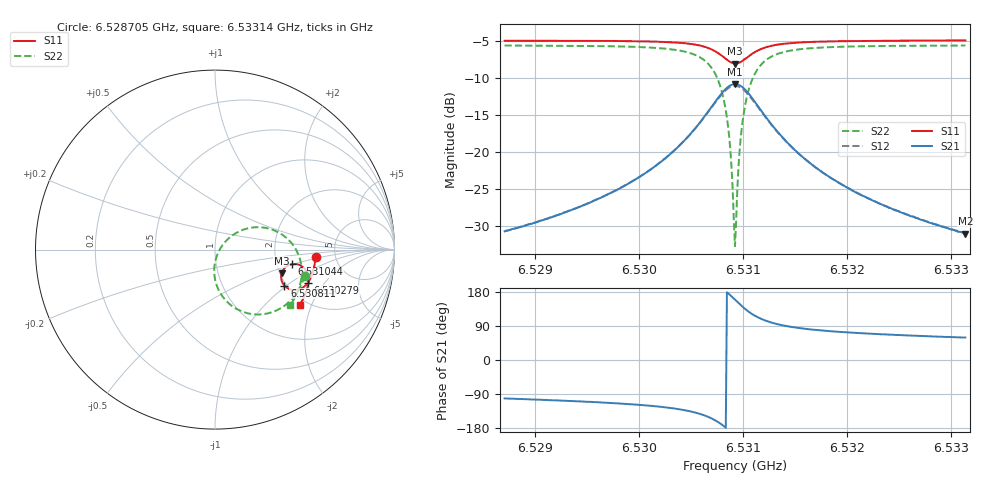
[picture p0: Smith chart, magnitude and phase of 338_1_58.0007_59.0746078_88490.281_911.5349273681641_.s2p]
#  HZ  S  RI  R  50.00
! Rohde & Schwarz Vector Network Analyzer
! Rohde-Schwarz,ZNB20-2Port,1311601062101988,3.16
! Created: UTC 3/21/2024, 1:05:23 AM
! freq[Hz]  re:S11  im:S11  re:S21  im:S21  re:S12  im:S12  re:S22  im:S22
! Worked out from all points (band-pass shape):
!   401 points, 6.528705 GHz to 6.53314 GHz, reference 50 ohm
!   highest |S21| = -10.85 dB at 6.530922 GHz (marker M1); lowest = -31.0 dB at 6.53314 GHz (marker M2)
!   |S21| within 3 dB of the highest: 6.530701 GHz to 6.531145 GHz (444.1 kHz wide, 0.0068 % of centre)
!   lowest |S11| = -8.1 dB at 6.530922 GHz (marker M3), VSWR 2.30, Z = 102 - j31.9 ohm
!   |S11| at or under -10 dB: nowhere
!   |S22| runs from -32.7 to -5.7 dB; largest |S21 - S12| = 0.011
!   S11 on the Smith chart (normalised r, x): 6.528705 GHz: 3.51, -0.42; 6.530279 GHz: 2.62, -1.38; 6.530811 GHz: 1.95, -0.97; 6.531044 GHz: 2.43, -0.48; 6.53314 GHz: 1.82, -1.65
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6.5287048e9  0.56 -0.0414  -0.00575 -0.0286  -0.00625 -0.0285  0.5006 -0.1456
6.5294477e9  0.5511 -0.1023  -0.0144 -0.0408  -0.0153 -0.0405  0.4721 -0.2129
6.5301906e9  0.5247 -0.1738  -0.0456 -0.0702  -0.0476 -0.0691  0.3959 -0.3062
6.5302793e9  0.5177 -0.184  -0.0552 -0.0762  -0.0572 -0.0748  0.376 -0.3205
6.5304899e9  0.4921 -0.2099  -0.0935 -0.0922  -0.0961 -0.089  0.2994 -0.3542
6.5306452e9  0.4544 -0.2249  -0.152 -0.0952  -0.1543 -0.0892  0.191 -0.3567
6.5307449e9  0.4157 -0.2206  -0.2121 -0.0718  -0.2118 -0.0633  0.0884 -0.3093
6.5308115e9  0.3871 -0.2009  -0.2547 -0.0278  -0.2508 -0.0186  0.022 -0.2283
6.5308669e9  0.3705 -0.1702  -0.276 0.0321  -0.2685 0.0397  -0.00432 -0.1253
6.5309002e9  0.3685 -0.1472  -0.2753 0.0744  -0.2661 0.0798  0.00381 -0.0553
6.5309113e9  0.3695 -0.1394  -0.2721 0.0886  -0.2625 0.0931  0.0112 -0.0324
6.5309223e9  0.3713 -0.1317  -0.2676 0.1026  -0.2579 0.1063  0.0208 -0.0102
6.5309334e9  0.374 -0.1242  -0.2617 0.1159  -0.252 0.1188  0.0326 0.0109
6.5309445e9  0.3774 -0.1171  -0.2546 0.1286  -0.2448 0.1306  0.0463 0.0306
6.5309667e9  0.3863 -0.1044  -0.237 0.1513  -0.2279 0.1517  0.0789 0.065
6.5309889e9  0.3973 -0.0942  -0.2163 0.1696  -0.2079 0.1686  0.1161 0.0916
6.5310443e9  0.4286 -0.0808  -0.1596 0.1945  -0.1539 0.1918  0.2138 0.1236
6.5311219e9  0.4668 -0.0841  -0.0923 0.1926  -0.0894 0.19  0.327 0.1083
6.5312328e9  0.4989 -0.1067  -0.0355 0.1631  -0.0341 0.1617  0.4193 0.0445
6.5316652e9  0.5203 -0.1821  0.0138 0.0806  0.0148 0.0805  0.4832 -0.131
6.5324081e9  0.5 -0.2548  0.0164 0.0386  0.0172 0.0385  0.4556 -0.2461
6.5331399e9  0.4718 -0.3083  0.0144 0.0242  0.0149 0.024  0.4199 -0.3085
